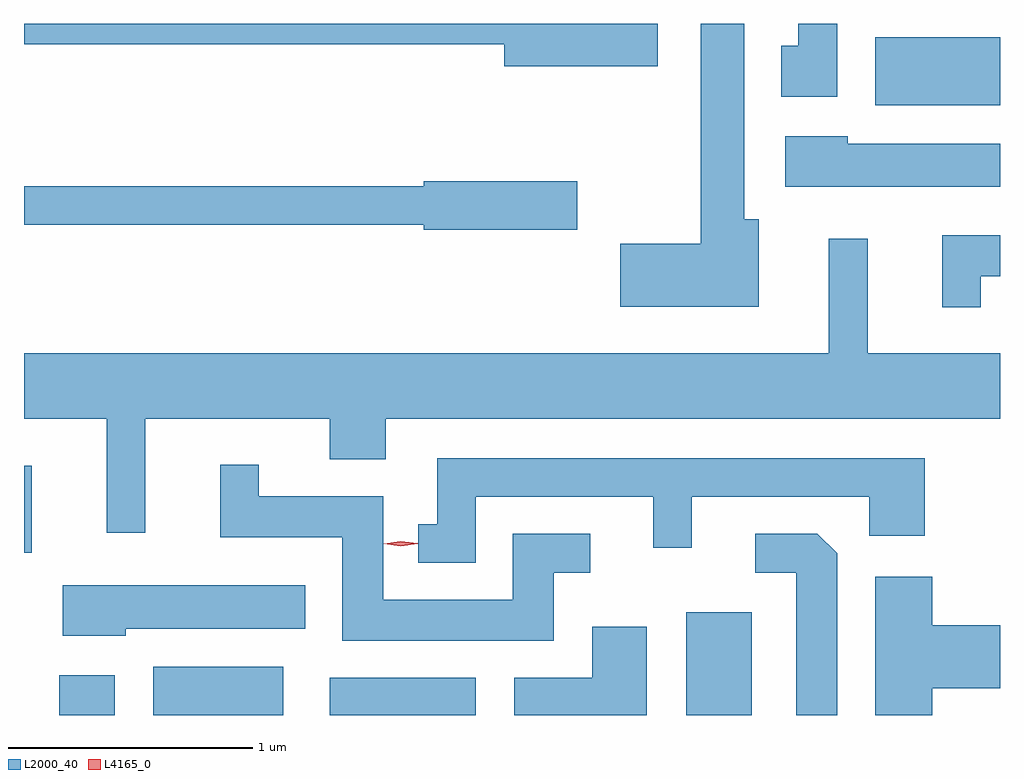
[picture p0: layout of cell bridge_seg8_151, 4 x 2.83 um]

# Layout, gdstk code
import gdstk
lib = gdstk.Library(unit=1e-6, precision=1e-09)
def R(c, l, rs):  # rectangles x0, y0, x1, y1
    for r in rs: c.add(gdstk.rectangle(r[:2], r[2:], *l))
def P(c, l, *ps):  # polygons
    for p in ps: c.add(gdstk.Polygon(p, *l))
L2000_40 = (2000, 40)
L4165_0 = (4165, 0)

bridge_seg8_151 = lib.new_cell('bridge_seg8_151')
R(bridge_seg8_151, L2000_40, [(1656.771,1806.342,1656.999,1806.504), (1657.156,1806.342,1657.689,1806.539), (1657.881,1806.342,1658.479,1806.494), (1659.341,1806.342,1659.609,1806.764), (1656.627,1807.006,1656.659,1807.364), (1660.116,1808.841,1660.627,1809.119)])
P(bridge_seg8_151, L2000_40, [(1659.224,1809.174),(1656.627,1809.174),(1656.627,1809.091),(1658.596,1809.091),(1658.596,1809.001),(1659.224,1809.001)],
  [(1659.639,1808.374),(1659.579,1808.374),(1659.579,1809.174),(1659.401,1809.174),(1659.401,1808.274),(1659.071,1808.274),(1659.071,1808.016),(1659.639,1808.016)],
  [(1659.959,1809.174),(1659.801,1809.174),(1659.801,1809.084),(1659.731,1809.084),(1659.731,1808.876),(1659.959,1808.876)],
  [(1660.627,1808.684),(1660.004,1808.684),(1660.004,1808.714),(1659.746,1808.714),(1659.746,1808.506),(1660.627,1808.506)],
  [(1658.894,1808.529),(1658.266,1808.529),(1658.266,1808.509),(1656.627,1808.509),(1656.627,1808.351),(1658.266,1808.351),(1658.266,1808.331),(1658.894,1808.331)],
  [(1660.549,1808.141),(1660.627,1808.141),(1660.627,1808.309),(1660.391,1808.309),(1660.391,1808.013),(1660.549,1808.013)],
  [(1657.124,1807.556),(1657.881,1807.556),(1657.881,1807.391),(1658.109,1807.391),(1658.109,1807.556),(1660.627,1807.556),(1660.627,1807.824),(1660.084,1807.824),(1660.084,1808.293),(1659.926,1808.293),(1659.926,1807.824),(1656.627,1807.824),(1656.627,1807.556),(1656.966,1807.556),(1656.966,1807.088),(1657.124,1807.088)],
  [(1658.479,1807.236),(1659.206,1807.236),(1659.206,1807.028),(1659.364,1807.028),(1659.364,1807.236),(1660.091,1807.236),(1660.091,1807.076),(1660.319,1807.076),(1660.319,1807.394),(1658.321,1807.394),(1658.321,1807.124),(1658.243,1807.124),(1658.243,1806.966),(1658.479,1806.966)],
  [(1658.799,1806.926),(1658.948,1806.926),(1658.948,1807.084),(1658.631,1807.084),(1658.631,1806.814),(1658.099,1806.814),(1658.099,1807.239),(1657.589,1807.239),(1657.589,1807.368),(1657.431,1807.368),(1657.431,1807.071),(1657.931,1807.071),(1657.931,1806.646),(1658.799,1806.646)],
  [(1659.959,1807.004),(1659.879,1807.084),(1659.623,1807.084),(1659.623,1806.926),(1659.791,1806.926),(1659.791,1806.342),(1659.959,1806.342)],
  [(1660.349,1806.451),(1660.627,1806.451),(1660.627,1806.709),(1660.349,1806.709),(1660.349,1806.909),(1660.116,1806.909),(1660.116,1806.342),(1660.349,1806.342)],
  [(1657.044,1806.696),(1657.779,1806.696),(1657.779,1806.874),(1656.786,1806.874),(1656.786,1806.666),(1657.044,1806.666)],
  [(1659.179,1806.704),(1658.956,1806.704),(1658.956,1806.494),(1658.636,1806.494),(1658.636,1806.342),(1659.179,1806.342)])
P(bridge_seg8_151, L4165_0, [(1658.171,1807.034),(1658.102,1807.043),(1658.102,1807.044),(1658.102,1807.044),(1658.171,1807.054),(1658.241,1807.045),(1658.241,1807.045),(1658.241,1807.044)])

lib.write_gds('bridge_seg8_151.gds')
